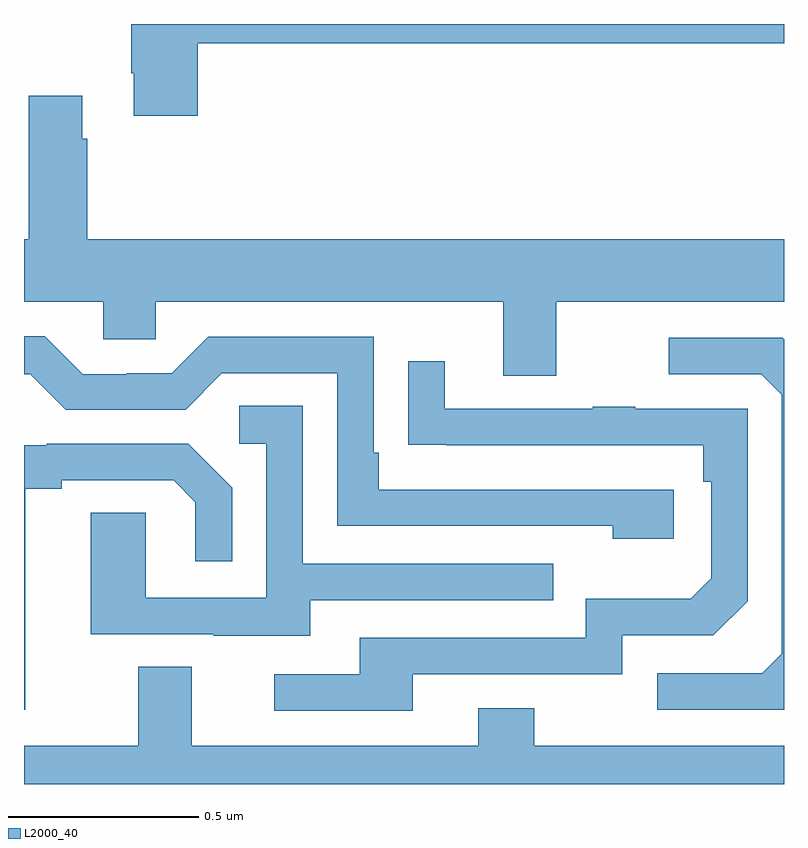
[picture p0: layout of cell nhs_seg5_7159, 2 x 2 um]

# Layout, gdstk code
import gdstk
lib = gdstk.Library(unit=1e-6, precision=1e-09)
def P(c, l, *ps):  # polygons
    for p in ps: c.add(gdstk.Polygon(p, *l))
L2000_40 = (2000, 40)

nhs_seg5_7159 = lib.new_cell('nhs_seg5_7159')
P(nhs_seg5_7159, L2000_40, [(205.457,882.748),(207,882.748),(207,882.799),(205.282,882.799),(205.282,882.67),(205.289,882.67),(205.289,882.558),(205.457,882.558)],
  [(206.401,882.068),(207,882.068),(207,882.232),(205.166,882.232),(205.166,882.497),(205.153,882.497),(205.153,882.61),(205.013,882.61),(205.013,882.232),(205,882.232),(205,882.068),(205.209,882.068),(205.209,881.97),(205.347,881.97),(205.347,882.068),(206.261,882.068),(206.261,881.874),(206.401,881.874)],
  [(206.71,881.574),(205.933,881.574),(205.933,881.671),(205.92,881.671),(205.92,881.976),(205.485,881.976),(205.389,881.88),(205.271,881.88),(205.271,881.877),(205.155,881.877),(205.055,881.977),(205,881.977),(205,881.877),(205.017,881.877),(205.11,881.784),(205.425,881.784),(205.521,881.88),(205.824,881.88),(205.824,881.478),(206.549,881.478),(206.549,881.444),(206.71,881.444)],
  [(207,881.97),(206.997,881.973),(206.697,881.973),(206.697,881.877),(206.94,881.877),(206.994,881.823),(206.994,881.142),(206.943,881.091),(206.667,881.091),(206.667,880.995),(207,880.995)],
  [(206.023,881.088),(206.574,881.088),(206.574,881.19),(206.814,881.19),(206.904,881.28),(206.904,881.787),(206.609,881.787),(206.609,881.792),(206.497,881.792),(206.497,881.787),(206.107,881.787),(206.107,881.911),(206.011,881.911),(206.011,881.692),(206.113,881.692),(206.113,881.691),(206.788,881.691),(206.788,881.594),(206.808,881.594),(206.808,881.34),(206.755,881.287),(206.478,881.287),(206.478,881.184),(205.883,881.184),(205.883,881.088),(205.659,881.088),(205.659,880.992),(206.023,880.992)],
  [(205.753,881.283),(206.393,881.283),(206.393,881.379),(205.734,881.379),(205.734,881.795),(205.566,881.795),(205.566,881.694),(205.638,881.694),(205.638,881.289),(205.32,881.289),(205.32,881.513),(205.175,881.513),(205.175,881.193),(205.499,881.193),(205.499,881.189),(205.753,881.189)],
  [(205.003,881.576),(205.099,881.576),(205.099,881.598),(205.394,881.598),(205.451,881.541),(205.451,881.385),(205.548,881.385),(205.548,881.578),(205.432,881.694),(205.06,881.694),(205.06,881.691),(205,881.691),(205,880.995),(205.003,880.995)],
  [(207,880.9),(206.343,880.9),(206.343,880.999),(206.195,880.999),(206.195,880.9),(205.441,880.9),(205.441,881.108),(205.301,881.108),(205.301,880.9),(205,880.9),(205,880.799),(207,880.799)])

lib.write_gds('nhs_seg5_7159.gds')
